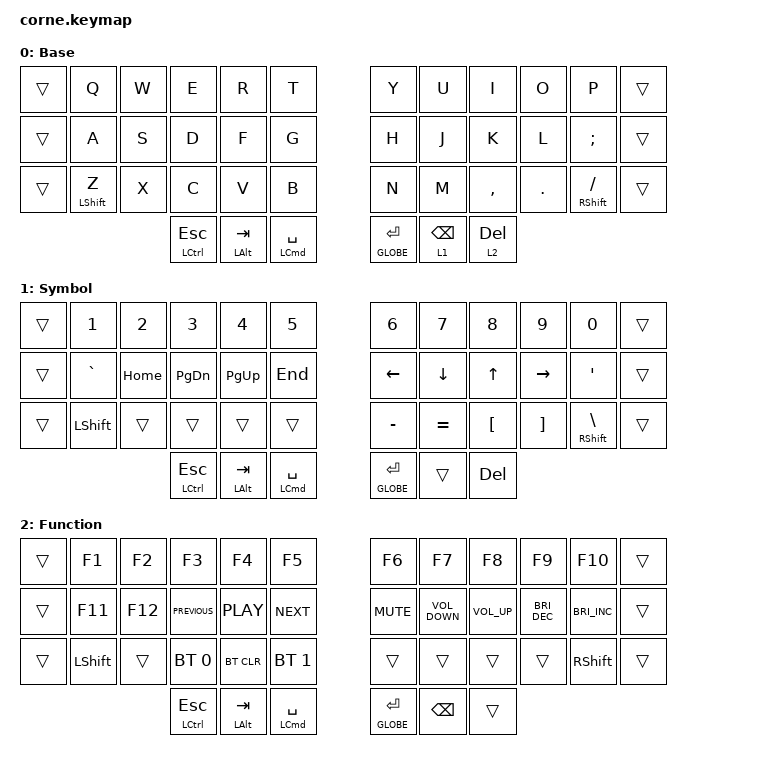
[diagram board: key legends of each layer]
/*
 * Copyright (c) 2020 The ZMK Contributors
 *
 * SPDX-License-Identifier: MIT
 */

#include <behaviors.dtsi>
#include <dt-bindings/zmk/bt.h>
#include <dt-bindings/zmk/keys.h>

/ {
    keymap {
        compatible = "zmk,keymap";

        base_layer {
            label = "Base";
            bindings = <
&trans  &kp Q             &kp W  &kp E                    &kp R             &kp T                     &kp Y            &kp U            &kp I         &kp O    &kp P                  &trans
&trans  &kp A             &kp S  &kp D                    &kp F             &kp G                     &kp H            &kp J            &kp K         &kp L    &kp SEMI               &trans
&trans  &mt LEFT_SHIFT Z  &kp X  &kp C                    &kp V             &kp B                     &kp N            &kp M            &kp COMMA     &kp DOT  &mt RIGHT_SHIFT SLASH  &trans
                                 &mt LEFT_CONTROL ESCAPE  &mt LEFT_ALT TAB  &mt LEFT_COMMAND SPACE    &mt GLOBE ENTER  &lt 1 BACKSPACE  &lt 2 DELETE
            >;
        };

        symbol_layer {
            label = "Symbol";
            bindings = <
&trans  &kp N1          &kp N2    &kp N3                   &kp N4            &kp N5                    &kp N6           &kp N7     &kp N8            &kp N9             &kp N0                     &trans
&trans  &kp GRAVE       &kp HOME  &kp PAGE_DOWN            &kp PAGE_UP       &kp END                   &kp LEFT         &kp DOWN   &kp UP            &kp RIGHT          &kp SINGLE_QUOTE           &trans
&trans  &kp LEFT_SHIFT  &trans    &trans                   &trans            &trans                    &kp MINUS        &kp EQUAL  &kp LEFT_BRACKET  &kp RIGHT_BRACKET  &mt RIGHT_SHIFT BACKSLASH  &trans
                                  &mt LEFT_CONTROL ESCAPE  &mt LEFT_ALT TAB  &mt LEFT_COMMAND SPACE    &mt GLOBE ENTER  &trans     &kp DELETE
            >;
        };

        function_layer {
            label = "Function";
            bindings = <
&trans  &kp F1          &kp F2   &kp F3                   &kp F4            &kp F5                    &kp F6           &kp F7             &kp F8           &kp F9                &kp F10               &trans
&trans  &kp F11         &kp F12  &kp C_PREVIOUS           &kp C_PLAY        &kp C_NEXT                &kp C_MUTE       &kp C_VOLUME_DOWN  &kp C_VOLUME_UP  &kp C_BRIGHTNESS_DEC  &kp C_BRIGHTNESS_INC  &trans
&trans  &kp LEFT_SHIFT  &trans   &bt BT_SEL 0             &bt BT_CLR        &bt BT_SEL 1              &trans           &trans             &trans           &trans                &kp RIGHT_SHIFT       &trans
                                 &mt LEFT_CONTROL ESCAPE  &mt LEFT_ALT TAB  &mt LEFT_COMMAND SPACE    &mt GLOBE ENTER  &kp BACKSPACE      &trans
            >;
        };
    };
};
